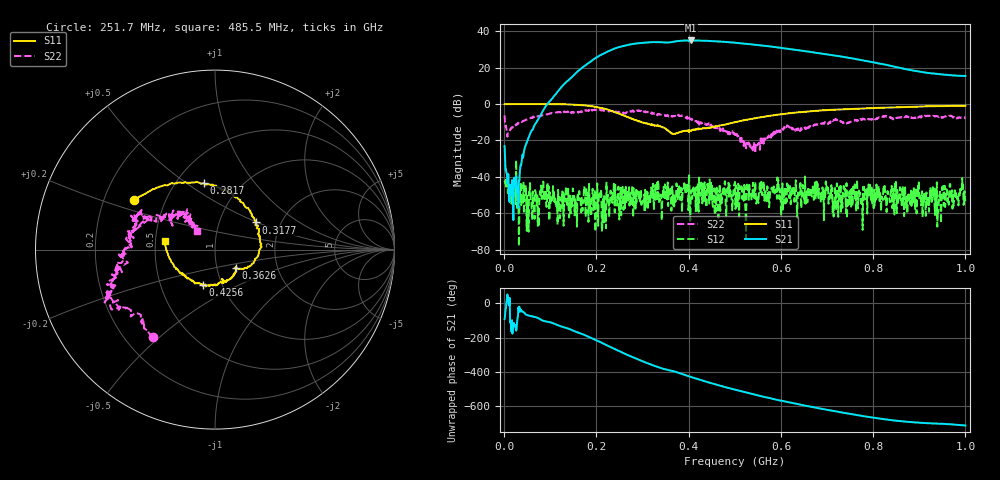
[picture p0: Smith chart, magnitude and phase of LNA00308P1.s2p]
! Created with skrf 1.9.0 (http://scikit-rf.org).
# Hz S RI R 50.0
!freq ReS11 ImS11 ReS21 ImS21 ReS12 ImS12 ReS22 ImS22
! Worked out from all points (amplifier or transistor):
!   1001 points, 1 MHz to 1 GHz, reference 50 ohm
!   highest |S21| = 34.9 dB at 405.6 MHz (marker M1)
!   |S21| within 3 dB of that: 259.3 MHz to 566.1 MHz (306.8 MHz wide, 74.3 % of centre)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
!   unconditionally stable (mu >= 1): start of sweep to 83.86 MHz; 247.8 MHz to 400.5 MHz; 400.8 MHz to end of sweep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
!   at 166.8 MHz: K = 4.26, MAG = 30.3 dB, |S12| = -59.5 dB
!   at 500.5 MHz: K = 1.39, MAG = 34.5 dB, |S12| = -42.7 dB
!   at 1 GHz: K = 6.14, MAG = 23.4 dB, |S12| = -53.2 dB
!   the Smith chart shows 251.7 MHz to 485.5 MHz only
!   S11 on the Smith chart (normalised r, x): 251.7 MHz: 0.33, +0.25; 281.7 MHz: 0.68, +0.58; 317.7 MHz: 1.50, +0.49; 362.6 MHz: 1.24, -0.26; 425.6 MHz: 0.81, -0.33; 485.5 MHz: 0.56, +0.06
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1000000  0.994 0.00992  -0.00113 -0.0699  -0.00635 0.00473  0.3351 0.3563
1.08892e8  0.5075 -0.8537  -0.8039 -1.479  0.00205 0.000206  0.4308 -0.3786
1.67833e8  -0.2559 -0.8954  -9.663 -0.4612  -0.0014 0.00254  0.0438 -0.629
2.12788e8  -0.7027 -0.3102  -14.65 18.18  -0.000266 0.000337  -0.2186 -0.6323
2.31769e8  -0.6572 0.0125  -7.485 29.44  -0.00264 0.000864  -0.2937 -0.5588
2.51749e8  -0.4489 0.2742  7.097 36.5  0.000495 -0.0012  -0.3468 -0.4871
2.81719e8  -0.0623 0.3697  32.77 30.69  -0.000923 0.00121  -0.5661 -0.2906
3.17683e8  0.2285 0.151  49.3 3.817  0.00116 0.00327  -0.5439 -0.1431
3.34666e8  0.2554 0.00962  48.87 -10.45  -0.00521 0.00195  -0.5183 -0.023
3.62638e8  0.1186 -0.1017  42.42 -26.54  -0.0011 -0.000424  -0.4477 0.1068
3.8062e8  0.1111 -0.1275  37.2 -39.54  0.00251 0.00277  -0.4328 0.1936
4.05595e8  0.0272 -0.1831  19.61 -52.02  -0.00122 -0.00379  -0.3549 0.1666
4.25575e8  -0.0691 -0.197  3.675 -54.76  -0.00264 -0.00148  -0.2316 0.2182
4.53547e8  -0.2051 -0.1166  -16.72 -50.42  0.00157 -0.000129  -0.1417 0.1735
4.85515e8  -0.2812 0.047  -33.49 -37.07  0.00449 -0.00077  -0.1027 0.1061
5.005e8  -0.2914 0.128  -38.62 -29.02  -0.00156 0.00713  -0.0839 0.1129
5.39461e8  -0.2046 0.3366  -42.24 -7.89  0.00397 -0.00566  -0.0487 0.00496
5.85415e8  -0.00372 0.4953  -35.04 11.56  0.000599 -0.00474  -0.1609 -0.0655
6.67333e8  0.3992 0.497  -11.74 23.68  0.000202 -0.00287  -0.2585 -0.0528
7.51249e8  0.6753 0.2848  4.653 17.62  -0.00247 -0.00356  -0.3261 0.0261
8.34166e8  0.799 0.0163  8.585 7.595  -0.00246 -0.001  -0.4211 0.0992
1e9  0.7242 -0.536  5.831 0.8887  -0.00209 0.000652  -0.146 0.379
